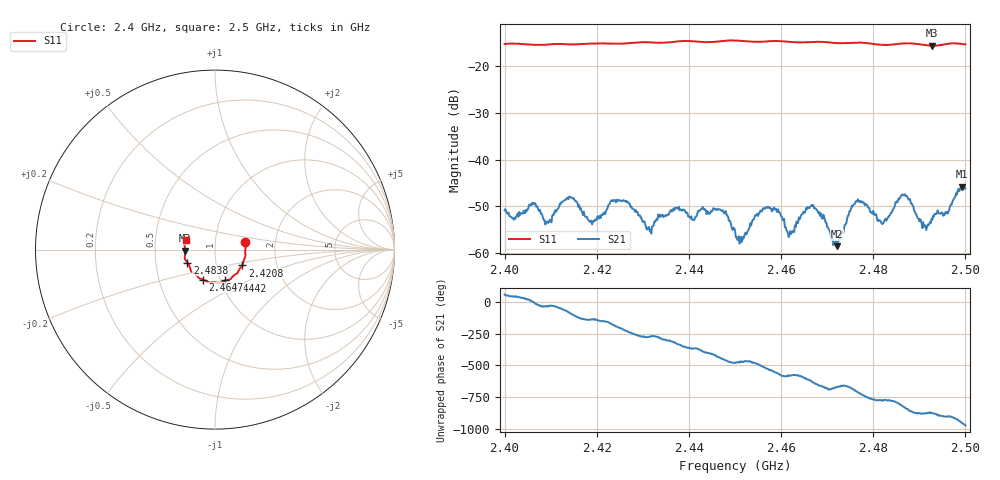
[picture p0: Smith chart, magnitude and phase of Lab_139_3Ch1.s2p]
# Hz S RI R 50
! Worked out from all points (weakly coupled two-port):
!   601 points, 2.4 GHz to 2.5 GHz, reference 50 ohm
!   highest |S21| = -45.77 dB at 2.4993 GHz (marker M1); lowest = -58.5 dB at 2.4722 GHz (marker M2)
!   lowest |S11| = -15.6 dB at 2.4928 GHz (marker M3), VSWR 1.40, Z = 35.8 - j0.393 ohm
!   |S11| at or under -10 dB: start of sweep to end of sweep
!   S12 and S22 are empty: the file has one direction only
!   S11 on the Smith chart (normalised r, x): 2.4 GHz: 1.40, +0.12; 2.4208 GHz: 1.33, -0.24; 2.4442 GHz: 1.05, -0.37; 2.4647 GHz: 0.83, -0.29; 2.4838 GHz: 0.73, -0.11; 2.5 GHz: 0.72, +0.08
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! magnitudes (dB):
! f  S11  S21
! 2.4 GHz  -15.3  -50.8
! 2.4142 GHz  -15.3  -47.9
! 2.4167 GHz  -15.3  -51.0
! 2.4208 GHz  -15.1  -52.5
! 2.4248 GHz  -15.2  -48.6
! 2.4313 GHz  -14.9  -54.4
! 2.4333 GHz  -15.0  -51.7
! 2.4442 GHz  -14.9  -51.2
! 2.45 GHz  -14.5  -55.0
! 2.4567 GHz  -14.7  -50.3
! 2.4618 GHz  -14.8  -56.0
! 2.4647 GHz  -14.9  -51.6
! 2.4667 GHz  -14.8  -49.7
! 2.4722 GHz  -15.1  -58.5
! 2.4767 GHz  -15.0  -48.5
! 2.4833 GHz  -15.4  -52.1
! 2.4838 GHz  -15.4  -51.4
! 2.4867 GHz  -15.1  -47.6
! 2.491 GHz  -15.5  -54.3
! 2.4928 GHz  -15.6  -52.9
! 2.4993 GHz  -15.3  -45.8
! 2.5 GHz  -15.3  -46.2
